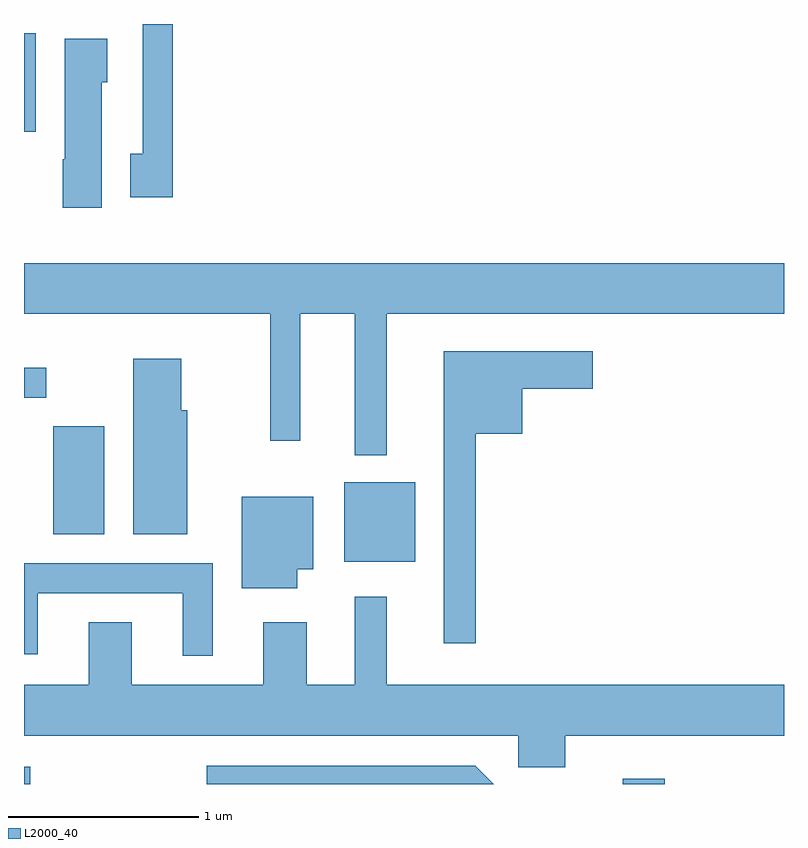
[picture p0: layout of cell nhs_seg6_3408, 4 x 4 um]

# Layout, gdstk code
import gdstk
lib = gdstk.Library(unit=1e-6, precision=1e-09)
def R(c, l, rs):  # rectangles x0, y0, x1, y1
    for r in rs: c.add(gdstk.rectangle(r[:2], r[2:], *l))
def P(c, l, *ps):  # polygons
    for p in ps: c.add(gdstk.Polygon(p, *l))
L2000_40 = (2000, 40)

nhs_seg6_3408 = lib.new_cell('nhs_seg6_3408')
R(nhs_seg6_3408, L2000_40, [(287.611,1614.162,287.644,1614.254), (290.761,1614.162,290.984,1614.189), (289.296,1615.331,289.669,1615.749), (287.766,1615.476,288.034,1616.044), (287.611,1616.196,287.728,1616.354), (287.611,1617.596,287.674,1618.114)])
P(nhs_seg6_3408, L2000_40, [(288.394,1618.162),(288.236,1618.162),(288.236,1617.479),(288.171,1617.479),(288.171,1617.251),(288.394,1617.251)],
  [(288.019,1617.856),(288.049,1617.856),(288.049,1618.084),(287.826,1618.084),(287.826,1617.45),(287.816,1617.45),(287.816,1617.196),(288.019,1617.196)],
  [(289.519,1616.636),(291.611,1616.636),(291.611,1616.904),(287.611,1616.904),(287.611,1616.636),(288.906,1616.636),(288.906,1615.968),(289.064,1615.968),(289.064,1616.636),(289.351,1616.636),(289.351,1615.893),(289.519,1615.893)],
  [(289.989,1616.006),(290.234,1616.006),(290.234,1616.241),(290.604,1616.241),(290.604,1616.439),(289.821,1616.439),(289.821,1614.903),(289.989,1614.903)],
  [(288.469,1616.129),(288.439,1616.129),(288.439,1616.399),(288.186,1616.399),(288.186,1615.476),(288.469,1615.476)],
  [(289.049,1615.291),(289.134,1615.291),(289.134,1615.674),(288.756,1615.674),(288.756,1615.191),(289.049,1615.191)],
  [(288.604,1615.324),(287.611,1615.324),(287.611,1614.846),(287.684,1614.846),(287.684,1615.166),(288.446,1615.166),(288.446,1614.838),(288.604,1614.838)],
  [(290.459,1614.416),(291.611,1614.416),(291.611,1614.684),(289.519,1614.684),(289.519,1615.148),(289.351,1615.148),(289.351,1614.684),(289.099,1614.684),(289.099,1615.014),(288.871,1615.014),(288.871,1614.684),(288.179,1614.684),(288.179,1615.014),(287.951,1615.014),(287.951,1614.684),(287.611,1614.684),(287.611,1614.416),(290.211,1614.416),(290.211,1614.251),(290.459,1614.251)],
  [(289.987,1614.259),(288.573,1614.259),(288.573,1614.162),(290.084,1614.162)])

lib.write_gds('nhs_seg6_3408.gds')
